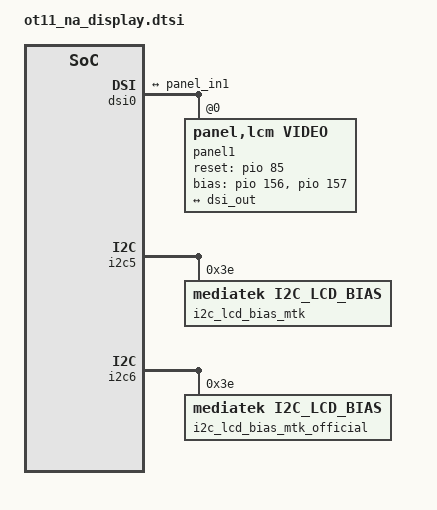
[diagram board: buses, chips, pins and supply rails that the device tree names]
// SPDX-License-Identifier: (GPL-2.0 OR MIT)
/*
 * Copyright (C) 2020 MediaTek Inc.
 */

/* display start */
&mtk_leds {
	compatible = "mediatek,disp-leds";

	backlight {
		/*Tab A9 code for AX6739W-45 by jiangyue at 20250616 start*/
		force-dts = <1>;
		led-mode = <4>;
		/*Tab A9 code for AX6739W-45 by jiangyue at 20250616 end*/
		gate_enable = <0>;
		/*Tab A9 code for AX6739W-45 by jiangyue at 20250620 start*/
                /*Tab A9_BOS code for AX6739W-45 by caiyang at 20250819 start*/
		max-brightness = <255>;
                /*Tab A9_BOS code for AX6739W-45 by caiyang at 20250819 end*/
		max-hw-brightness = <4095>;
		/*Tab A9 code for AX6739W-45 by jiangyue at 20250620 end*/
		pwm_config = <0 1 0 0 0>;
	};
};

&pio {
	ctp_rst_pin_low: ctp_rst_pin_low {
		pins_cmd_dat {
			pinmux = <PINMUX_GPIO155__FUNC_GPIO155>;
			slew-rate = <1>;
			output-low;
		};
	};
	ctp_rst_pin_high: ctp_rst_pin_high {
		pins_cmd_dat {
			pinmux = <PINMUX_GPIO155__FUNC_GPIO155>;
			slew-rate = <1>;
			output-high;
		};
	};
};

&dsi0 {
	status = "okay";
	#address-cells = <1>;
	#size-cells = <0>;
	panel1@0 {
		compatible = "panel,lcm,video";
		reg = <0>;
		reset-gpios = <&pio 85 0>;//lcm rst
		bias-gpios = <&pio 156 0>, <&pio 157 0>;//vsp.vsn
		pinctrl-names = "ctp_rst_pin_low","ctp_rst_pin_high";
		pinctrl-0 = <&ctp_rst_pin_low>;
		pinctrl-1 = <&ctp_rst_pin_high>;
		port {
			panel_in1: endpoint {
				remote-endpoint = <&dsi_out>;
			};
		};
	};

	ports {
		port {
			dsi_out: endpoint {
				remote-endpoint = <&panel_in1>;
			};
		};
	};
};

&i2c5 {
	i2c_lcd_bias_mtk:i2c_lcd_bias@3e {
		compatible = "mediatek,i2c_lcd_bias";
		reg = <0x3e>;
		id = <5>;
		status = "okay";
	};
};

&i2c6 {
	i2c_lcd_bias_mtk_official:i2c_lcd_bias@3e {
		compatible = "mediatek,i2c_lcd_bias";
		reg = <0x3e>;
		id = <5>;
		status = "okay";
	};
};

